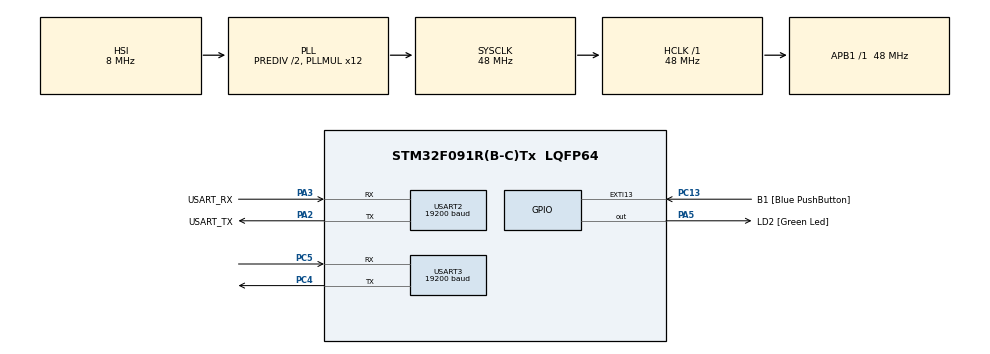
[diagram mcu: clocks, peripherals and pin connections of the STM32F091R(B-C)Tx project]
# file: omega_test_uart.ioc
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Dma.Request0=USART2_RX
Dma.USART2_RX.0.Direction=DMA_PERIPH_TO_MEMORY
Dma.USART2_RX.0.Instance=DMA1_Channel1
Dma.USART2_RX.0.MemDataAlignment=DMA_MDATAALIGN_BYTE
Dma.USART2_RX.0.MemInc=DMA_MINC_ENABLE
Dma.USART2_RX.0.Mode=DMA_NORMAL
Dma.USART2_RX.0.PeriphDataAlignment=DMA_PDATAALIGN_BYTE
Dma.USART2_RX.0.PeriphInc=DMA_PINC_DISABLE
Dma.USART2_RX.0.Priority=DMA_PRIORITY_LOW
Mcu.Family=STM32F0
Mcu.Name=STM32F091R(B-C)Tx
Mcu.Package=LQFP64
NVIC.DMA1_Ch1_IRQn=true\:0\:0\:false\:false\:true\:false\:true
NVIC.USART2_IRQn=true\:0\:0\:false\:false\:true\:true\:true
NVIC.USART3_8_IRQn=true\:0\:0\:false\:false\:true\:true\:true
PA13.GPIO_Label=TMS
PA13.Mode=Serial_Wire
PA13.Signal=SYS_SWDIO
PA14.GPIO_Label=TCK
PA14.Mode=Serial_Wire
PA14.Signal=SYS_SWCLK
PA2.GPIO_Label=USART_TX
PA2.GPIO_Mode=GPIO_MODE_AF_PP
PA2.GPIO_PuPd=GPIO_NOPULL
PA2.GPIO_Speed=GPIO_SPEED_FREQ_LOW
PA2.Mode=Asynchronous
PA2.Signal=USART2_TX
PA3.GPIO_Label=USART_RX
PA3.GPIO_Mode=GPIO_MODE_AF_PP
PA3.GPIO_PuPd=GPIO_NOPULL
PA3.GPIO_Speed=GPIO_SPEED_FREQ_LOW
PA3.Mode=Asynchronous
PA3.Signal=USART2_RX
PA5.GPIO_Label=LD2 [Green Led]
PA5.GPIO_Mode=GPIO_MODE_OUTPUT_PP
PA5.GPIO_PuPd=GPIO_NOPULL
PA5.GPIO_Speed=GPIO_SPEED_FREQ_LOW
PA5.Signal=GPIO_Output
PC13.GPIO_Label=B1 [Blue PushButton]
PC13.GPIO_ModeDefaultEXTI=GPIO_MODE_IT_FALLING
PC13.Signal=GPXTI13
PC14OSC32_IN.Mode=LSE-External-Oscillator
PC14OSC32_IN.Signal=RCC_OSC32_IN
PC15OSC32_OUT.Mode=LSE-External-Oscillator
PC15OSC32_OUT.Signal=RCC_OSC32_OUT
PC4.Mode=Asynchronous
PC4.Signal=USART3_TX
PC5.Mode=Asynchronous
PC5.Signal=USART3_RX
PF0-OSC_IN.Mode=HSE-External-Clock-Source
PF0-OSC_IN.Signal=RCC_OSC_IN
PF1-OSC_OUT.Signal=RCC_OSC_OUT
ProjectManager.HeapSize=0x200
ProjectManager.StackSize=0x400
ProjectManager.TargetToolchain=STM32CubeIDE
RCC.AHBFreq_Value=48000000
RCC.APB1Freq_Value=48000000
RCC.APB1TimFreq_Value=48000000
RCC.FLatency-AdvancedSettings=FLASH_LATENCY_1
RCC.HCLKFreq_Value=48000000
RCC.PLLDivider=RCC_PREDIV_DIV2
RCC.PLLMUL=RCC_PLL_MUL12
RCC.PREFETCH_ENABLE-AdvancedSettings=1
RCC.SYSCLKFreq_VALUE=48000000
RCC.SYSCLKSource=RCC_SYSCLKSOURCE_PLLCLK
USART2.BaudRate=19200
USART2.VirtualMode-Asynchronous=VM_ASYNC
USART3.BaudRate=19200
USART3.VirtualMode-Asynchronous=VM_ASYNC
board=NUCLEO-F091RC

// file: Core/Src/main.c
/* USER CODE BEGIN Header */
/**
  ******************************************************************************
  * @file           : main.c
  * @brief          : Main program body
  ******************************************************************************
  * @attention
  *
  * Copyright (c) 2022 STMicroelectronics.
  * All rights reserved.
  *
  * This software is licensed under terms that can be found in the LICENSE file
  * in the root directory of this software component.
  * If no LICENSE file comes with this software, it is provided AS-IS.
  *
  ******************************************************************************
  */
/* USER CODE END Header */
#include "main.h"

/* USER CODE BEGIN Includes */
#include <stdio.h>
#include <string.h>
#include <stdlib.h>
#include <math.h>
/* USER CODE END Includes */

UART_HandleTypeDef huart2;
UART_HandleTypeDef huart3;
DMA_HandleTypeDef hdma_usart2_rx;

/* USER CODE BEGIN PV */
uint8_t rxBuffer[49];
uint8_t txBuffer[6] = {"A$$17\r"};
uint8_t setpoint[6] = {"A \r"};
char newsetpoint[5];

uint8_t dummy[6] = "3.1415";
uint8_t dummy9[10] = "+2.1 -13.6";
uint8_t num1[7];
uint8_t num2[7];
//uint8_t mass_flow[7];
uint8_t mass_flow;
float pressure;
int store;
//uint8_t data[];
/* USER CODE END PV */

void SystemClock_Config(void);
static void MX_GPIO_Init(void);
static void MX_USART2_UART_Init(void);
static void MX_DMA_Init(void);
static void MX_USART3_UART_Init(void);

int main(void)
{
  /* USER CODE BEGIN 1 */
	//int counter = 0;
  /* USER CODE END 1 */

  /* MCU Configuration--------------------------------------------------------*/

  /* Reset of all peripherals, Initializes the Flash interface and the Systick. */
  HAL_Init();

  /* Configure the system clock */
  SystemClock_Config();

  /* Initialize all configured peripherals */
  MX_GPIO_Init();
  MX_USART2_UART_Init();
  MX_DMA_Init();
  MX_USART3_UART_Init();

  /* Infinite loop */
  while (1)
  {

    /* USER CODE BEGIN 3 */
	  HAL_UART_Transmit  (&huart3, txBuffer, 6, 100);

	  HAL_UART_Receive(&huart3, rxBuffer, 49, 100);

	/* memcpy(num2,&rxBuffer[2],7);
	 memcpy(num1,&rxBuffer[27],7);*/

	 //mass_flow = atof(num1);
	 //pressure = atof(num2);

	/* store = (3.8 * 64000)/100;
	 itoa(store, newsetpoint,10);
	 setpoint[1] = newsetpoint[0];
	 setpoint[2] = newsetpoint[1];
	 setpoint[3] = newsetpoint[2];
	 setpoint[4] = newsetpoint[3];
	 setpoint[5] = newsetpoint[4];
	 //HAL_Delay(5000);
	 HAL_UART_Transmit  (&huart3, setpoint, 6, 100);*/
	 //HAL_Delay(5000);
	 //HAL_UART_Transmit  (&huart3, txBuffer, 6, 100);

	/* char *convert(uint8_t *rxBuffer)
	 {
		 char* buffer;
		 int i;

		 buffer = malloc(9);
		 if(!buffer)
			 return NULL;
		 buffer[8] = 0;
		 for (i=0; i<=7; i++)
			 buffer[7-i] = (((*rxBuffer) >> i) & (0x01)) + '0';
		 puts(buffer);

	 }*/
	 /*if (rxBuffer[0] == 65)
	    {
	  	  HAL_GPIO_TogglePin(GPIOA, GPIO_PIN_5);
	  	  HAL_Delay(500);
	    }
	  HAL_Delay(500);
*/
  }
  /* USER CODE END 3 */
}

void SystemClock_Config(void)
{
  RCC_OscInitTypeDef RCC_OscInitStruct = {0};
  RCC_ClkInitTypeDef RCC_ClkInitStruct = {0};
  RCC_PeriphCLKInitTypeDef PeriphClkInit = {0};

  /** Initializes the RCC Oscillators according to the specified parameters
  * in the RCC_OscInitTypeDef structure.
  */
  RCC_OscInitStruct.OscillatorType = RCC_OSCILLATORTYPE_HSI;
  RCC_OscInitStruct.HSIState = RCC_HSI_ON;
  RCC_OscInitStruct.HSICalibrationValue = RCC_HSICALIBRATION_DEFAULT;
  RCC_OscInitStruct.PLL.PLLState = RCC_PLL_ON;
  RCC_OscInitStruct.PLL.PLLSource = RCC_PLLSOURCE_HSI;
  RCC_OscInitStruct.PLL.PLLMUL = RCC_PLL_MUL12;
  RCC_OscInitStruct.PLL.PREDIV = RCC_PREDIV_DIV2;
  if (HAL_RCC_OscConfig(&RCC_OscInitStruct) != HAL_OK)
  {
    Error_Handler();
  }
  /** Initializes the CPU, AHB and APB buses clocks
  */
  RCC_ClkInitStruct.ClockType = RCC_CLOCKTYPE_HCLK|RCC_CLOCKTYPE_SYSCLK
                              |RCC_CLOCKTYPE_PCLK1;
  RCC_ClkInitStruct.SYSCLKSource = RCC_SYSCLKSOURCE_PLLCLK;
  RCC_ClkInitStruct.AHBCLKDivider = RCC_SYSCLK_DIV1;
  RCC_ClkInitStruct.APB1CLKDivider = RCC_HCLK_DIV1;

  if (HAL_RCC_ClockConfig(&RCC_ClkInitStruct, FLASH_LATENCY_1) != HAL_OK)
  {
    Error_Handler();
  }
  PeriphClkInit.PeriphClockSelection = RCC_PERIPHCLK_USART3|RCC_PERIPHCLK_USART2;
  PeriphClkInit.Usart2ClockSelection = RCC_USART2CLKSOURCE_PCLK1;
  PeriphClkInit.Usart3ClockSelection = RCC_USART3CLKSOURCE_PCLK1;
  if (HAL_RCCEx_PeriphCLKConfig(&PeriphClkInit) != HAL_OK)
  {
    Error_Handler();
  }
}

static void MX_USART2_UART_Init(void)
{

  huart2.Instance = USART2;
  huart2.Init.BaudRate = 19200;
  huart2.Init.WordLength = UART_WORDLENGTH_8B;
  huart2.Init.StopBits = UART_STOPBITS_1;
  huart2.Init.Parity = UART_PARITY_NONE;
  huart2.Init.Mode = UART_MODE_TX_RX;
  huart2.Init.HwFlowCtl = UART_HWCONTROL_NONE;
  huart2.Init.OverSampling = UART_OVERSAMPLING_16;
  huart2.Init.OneBitSampling = UART_ONE_BIT_SAMPLE_DISABLE;
  huart2.AdvancedInit.AdvFeatureInit = UART_ADVFEATURE_NO_INIT;
  if (HAL_UART_Init(&huart2) != HAL_OK)
  {
    Error_Handler();
  }

}

static void MX_USART3_UART_Init(void)
{

  huart3.Instance = USART3;
  huart3.Init.BaudRate = 19200;
  huart3.Init.WordLength = UART_WORDLENGTH_8B;
  huart3.Init.StopBits = UART_STOPBITS_1;
  huart3.Init.Parity = UART_PARITY_NONE;
  huart3.Init.Mode = UART_MODE_TX_RX;
  huart3.Init.HwFlowCtl = UART_HWCONTROL_NONE;
  huart3.Init.OverSampling = UART_OVERSAMPLING_16;
  huart3.Init.OneBitSampling = UART_ONE_BIT_SAMPLE_DISABLE;
  huart3.AdvancedInit.AdvFeatureInit = UART_ADVFEATURE_NO_INIT;
  if (HAL_UART_Init(&huart3) != HAL_OK)
  {
    Error_Handler();
  }

}

static void MX_DMA_Init(void)
{

  /* DMA controller clock enable */
  __HAL_RCC_DMA1_CLK_ENABLE();

  /* DMA interrupt init */
  /* DMA1_Ch1_IRQn interrupt configuration */
  HAL_NVIC_SetPriority(DMA1_Ch1_IRQn, 0, 0);
  HAL_NVIC_EnableIRQ(DMA1_Ch1_IRQn);

}

static void MX_GPIO_Init(void)
{
  GPIO_InitTypeDef GPIO_InitStruct = {0};

  /* GPIO Ports Clock Enable */
  __HAL_RCC_GPIOC_CLK_ENABLE();
  __HAL_RCC_GPIOF_CLK_ENABLE();
  __HAL_RCC_GPIOA_CLK_ENABLE();

  /*Configure GPIO pin Output Level */
  HAL_GPIO_WritePin(LD2_GPIO_Port, LD2_Pin, GPIO_PIN_RESET);

  /*Configure GPIO pin : B1_Pin */
  GPIO_InitStruct.Pin = B1_Pin;
  GPIO_InitStruct.Mode = GPIO_MODE_IT_FALLING;
  GPIO_InitStruct.Pull = GPIO_NOPULL;
  HAL_GPIO_Init(B1_GPIO_Port, &GPIO_InitStruct);

  /*Configure GPIO pin : LD2_Pin */
  GPIO_InitStruct.Pin = LD2_Pin;
  GPIO_InitStruct.Mode = GPIO_MODE_OUTPUT_PP;
  GPIO_InitStruct.Pull = GPIO_NOPULL;
  GPIO_InitStruct.Speed = GPIO_SPEED_FREQ_LOW;
  HAL_GPIO_Init(LD2_GPIO_Port, &GPIO_InitStruct);

}

void Error_Handler(void)
{
  __disable_irq();
  while (1)
  {
  }
}
